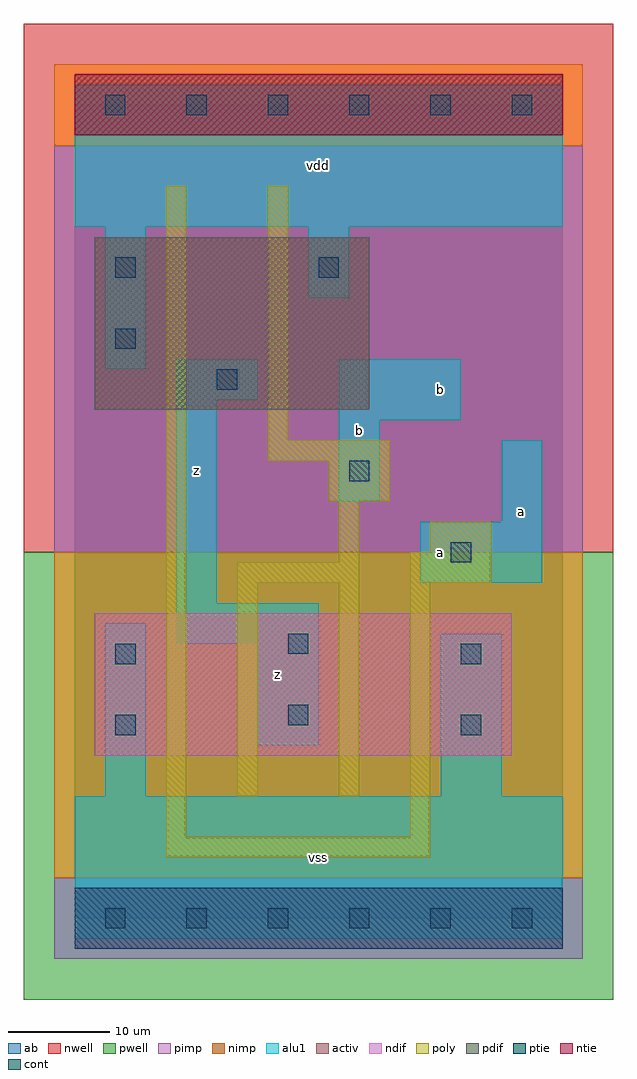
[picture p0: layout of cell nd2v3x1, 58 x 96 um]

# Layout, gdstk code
import gdstk
lib = gdstk.Library(unit=1e-6, precision=1e-09)
def R(c, l, rs):  # rectangles x0, y0, x1, y1
    for r in rs: c.add(gdstk.rectangle(r[:2], r[2:], *l))
def A(c, l, x, y, w, h, nx, ny, dx, dy):  # array of equal rectangles
    R(c, l, [(x+i*dx, y+j*dy, x+i*dx+w, y+j*dy+h) for i in range(nx) for j in range(ny)])
ndif = (3, 0)
pdif = (4, 0)
ntie = (5, 0)
ptie = (6, 0)
cont = (25, 0)
pwell = (41, 0)
nwell = (42, 0)
activ = (43, 0)
pimp = (44, 0)
nimp = (45, 0)
poly = (46, 0)
alu1 = (49, 0)
ab = (63, 0)

nd2v3x1 = lib.new_cell('nd2v3x1')
R(nd2v3x1, ndif, [(2,16,43,30)])
R(nd2v3x1, pdif, [(2,50,29,67)])
R(nd2v3x1, ntie, [(0,77,48,83)])
R(nd2v3x1, ptie, [(0,-3,48,3)])
A(nd2v3x1, cont, 3, -1, 2, 2, 6, 2, 8, 80)
R(nd2v3x1, cont, [(4,18,6,20), (38,18,40,20), (21,19,23,21), (4,25,6,27), (38,25,40,27), (21,26,23,28), (37,35,39,37), (27,43,29,45), (14,52,16,54), (4,56,6,58), (4,63,6,65), (24,63,26,65)])
R(nd2v3x1, pwell, [(-5,-8,53,36)])
R(nd2v3x1, nwell, [(-5,36,53,88)])
R(nd2v3x1, activ, [(0,-3,48,3), (2,16,43,30), (2,50,29,67), (0,77,48,83)])
R(nd2v3x1, pimp, [(-2,-4,50,4), (-2,36,50,76)])
R(nd2v3x1, nimp, [(-2,4,50,36), (-2,76,50,84)])
R(nd2v3x1, poly, [(9,6,35,8), (9,8,11,72), (33,8,35,33), (16,12,18,33), (26,12,28,33), (16,33,28,35), (33,33,41,36), (26,35,28,41), (35,36,41,39), (25,41,31,45), (19,45,31,47), (19,47,21,72)])
R(nd2v3x1, alu1, [(0,-2,48,12), (3,12,7,29), (36,12,42,28), (18,17,24,27), (10,27,24,31), (10,31,14,51), (34,33,46,39), (42,39,46,47), (26,41,30,49), (26,49,38,55), (10,51,18,55), (3,54,7,68), (23,61,27,68), (0,68,48,82)])
R(nd2v3x1, ab, [(0,0,48,80)])
nd2v3x1.add(gdstk.Label('z', (20,24), layer=49, texttype=0))
nd2v3x1.add(gdstk.Label('z', (12,44), layer=49, texttype=0))
nd2v3x1.add(gdstk.Label('vss', (24,6), layer=49, texttype=0))
nd2v3x1.add(gdstk.Label('b', (28,48), layer=49, texttype=0))
nd2v3x1.add(gdstk.Label('vdd', (24,74), layer=49, texttype=0))
nd2v3x1.add(gdstk.Label('a', (36,36), layer=49, texttype=0))
nd2v3x1.add(gdstk.Label('a', (44,40), layer=49, texttype=0))
nd2v3x1.add(gdstk.Label('b', (36,52), layer=49, texttype=0))

lib.write_gds('nd2v3x1.gds')
